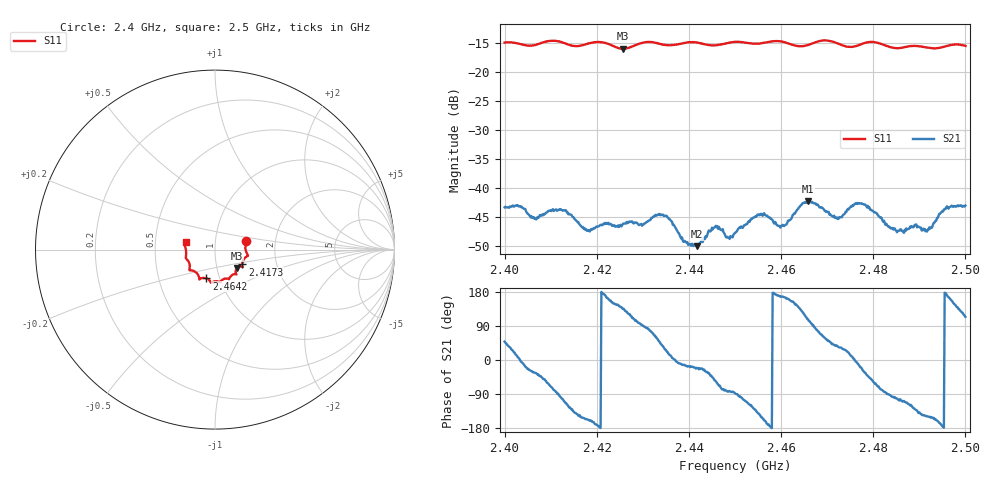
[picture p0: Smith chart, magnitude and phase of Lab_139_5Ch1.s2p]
# Hz S RI R 50
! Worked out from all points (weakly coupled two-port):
!   601 points, 2.4 GHz to 2.5 GHz, reference 50 ohm
!   highest |S21| = -42.25 dB at 2.4658 GHz (marker M1); lowest = -50.0 dB at 2.4418 GHz (marker M2)
!   lowest |S11| = -15.9 dB at 2.4257 GHz (marker M3), VSWR 1.38, Z = 62.4 - j13.1 ohm
!   |S11| at or under -10 dB: start of sweep to end of sweep
!   S12 and S22 are empty: the file has one direction only
!   S11 on the Smith chart (normalised r, x): 2.4 GHz: 1.41, +0.14; 2.4173 GHz: 1.34, -0.23; 2.4642 GHz: 0.86, -0.29; 2.5 GHz: 0.72, +0.06
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2.4e9  0.1738 0.0491  0.00454 0.00513  0 0  0 0
2.403167e9  0.1732 0.033  0.00699 0.000397  0 0  0 0
2.4065e9  0.1716 -0.00498  0.00455 -0.00301  0 0  0 0
2.4125e9  0.1773 -0.0379  -0.00141 -0.0063  0 0  0 0
2.416667e9  0.1528 -0.0753  -0.0041 -0.00222  0 0  0 0
2.417333e9  0.1521 -0.0827  -0.00408 -0.00199  0 0  0 0
2.425667e9  0.1223 -0.1023  -0.00346 0.00349  0 0  0 0
2.433333e9  0.1128 -0.1368  0.00361 0.00466  0 0  0 0
2.441833e9  0.0752 -0.1639  0.00295 -0.00115  0 0  0 0
2.4455e9  0.0509 -0.1629  0.00278 -0.00366  0 0  0 0
2.45e9  0.0297 -0.1807  0.000176 -0.00411  0 0  0 0
2.455333e9  -0.00115 -0.177  -0.00475 -0.00341  0 0  0 0
2.460333e9  -0.0245 -0.1818  -0.00472 0.00105  0 0  0 0
2.464167e9  -0.0483 -0.1607  -0.00487 0.00507  0 0  0 0
2.465833e9  -0.0679 -0.1578  -0.00234 0.00736  0 0  0 0
2.466667e9  -0.0761 -0.1593  -0.000727 0.00761  0 0  0 0
2.472167e9  -0.0877 -0.155  0.00447 0.00337  0 0  0 0
2.477833e9  -0.1344 -0.1159  0.0064 -0.00349  0 0  0 0
2.483333e9  -0.1406 -0.0894  -7.19e-05 -0.00472  0 0  0 0
2.4915e9  -0.161 -0.0306  -0.00372 -0.00227  0 0  0 0
2.495667e9  -0.1667 0.0167  -0.0066 0.000381  0 0  0 0
2.5e9  -0.1637 0.0418  -0.00287 0.00649  0 0  0 0
